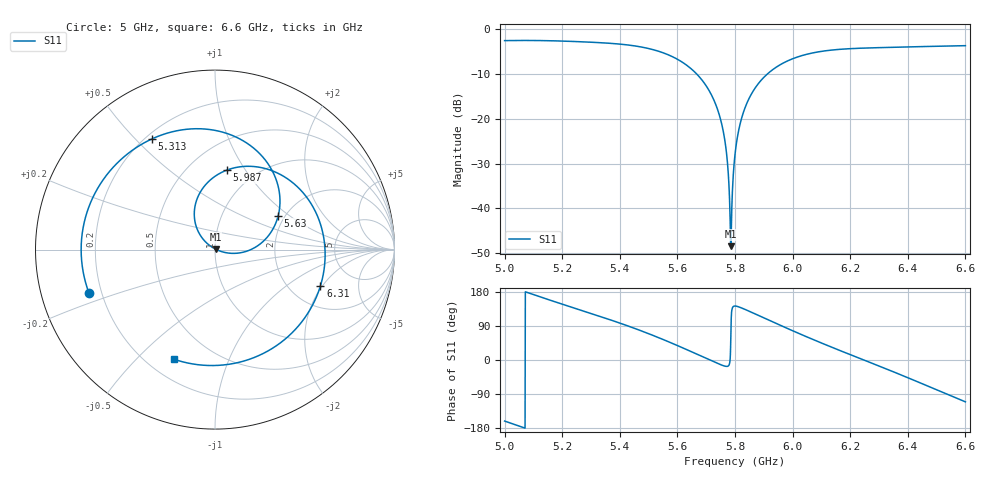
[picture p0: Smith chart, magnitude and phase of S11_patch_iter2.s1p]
! openEMS
# GHZ S MA R 50
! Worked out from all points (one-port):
!   1601 points, 5 GHz to 6.6 GHz, reference 50 ohm
!   lowest |S11| = -48.4 dB at 5.785 GHz (marker M1), VSWR 1.01, Z = 50.3 + j0.257 ohm
!   |S11| at or under -10 dB: 5.667 GHz to 5.913 GHz (246.3 MHz wide, 4.25 % of centre)
!   S11 on the Smith chart (normalised r, x): 5 GHz: 0.15, -0.16; 5.313 GHz: 0.23, +0.56; 5.63 GHz: 1.85, +0.83; 5.987 GHz: 0.75, +0.83; 6.31 GHz: 2.92, -1.91; 6.6 GHz: 0.31, -0.65
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5  0.7429 -161.1
5.098  0.7453 173.2
5.2  0.7341 147.3
5.313  0.7096 119.5
5.4  0.6791 97.4
5.493  0.6133 71.5
5.6  0.4601 38.2
5.63  0.3996 28.2
5.697  0.2401 5.3
5.742  0.1198 -9.9
5.766  0.05378 -16.4
5.773  0.03453 -16.8
5.78  0.01548 -12.0
5.785  0.003784 42.6
5.791  0.01554 137.6
5.8  0.03983 142.4
5.809  0.06411 141.1
5.821  0.09613 137.9
5.857  0.1885 126.0
5.912  0.3144 107.1
5.987  0.4477 81.6
6  0.466 77.2
6.09  0.5568 48.1
6.2  0.604 14.2
6.31  0.6212 -18.9
6.4  0.6317 -46.7
6.502  0.6425 -79.3
6.6  0.6523 -110.4
